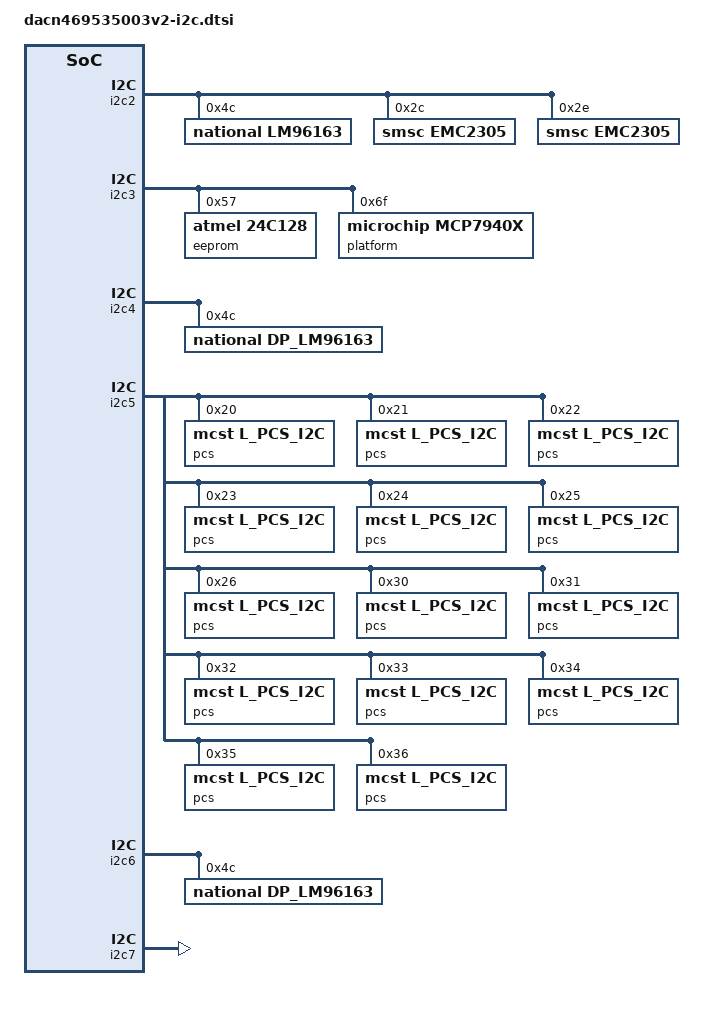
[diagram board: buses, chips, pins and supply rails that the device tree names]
&i2c0 {
	status = "disable";
};

&i2c1 {
	status = "disable";
};

&i2c2 {
	/* i2c_pmbus */
	status = "okay";
	
	lm96163@4c {
		compatible = "national,lm96163";
		reg = <0x4c>;
	};
	
	emc2305@2c {
		compatible = "smsc,emc2305";
		reg = <0x2c>;	
	};	
	emc2305@2e {
		compatible = "smsc,emc2305";
		reg = <0x2e>;	
	};	

};

&i2c3 {
	/* i2c_fruid */
	status = "okay";
	
	eeprom@57 {
		compatible = "atmel,24c128";
		reg = <0x57>;	     
	};

	mcp7940@6f {
        	compatible = "microchip,mcp7940x";
        	reg = <0x6f>;
        	label = "platform";
    	};
};

&i2c4 {
	/* i2c_cpu1 */
	status = "okay";
	
	dp_lm96163@4c {
		compatible = "national,dp_lm96163";
		reg = <0x4c>;
	};	
	
};

&i2c5 {
	/* i2c_mntr */
	status = "okay";

        pcs@20 {
		compatible = "mcst,l_pcs_i2c";
		reg = <0x20>;
	};	
        pcs@21 {
		compatible = "mcst,l_pcs_i2c";
		reg = <0x21>;
	};	
        pcs@22 {
		compatible = "mcst,l_pcs_i2c";
		reg = <0x22>;
	};	
        pcs@23 {
		compatible = "mcst,l_pcs_i2c";
		reg = <0x23>;
	};	
        pcs@24 {
		compatible = "mcst,l_pcs_i2c";
		reg = <0x24>;
	};	
        pcs@25 {
		compatible = "mcst,l_pcs_i2c";
		reg = <0x25>;
	};	
        pcs@26 {
		compatible = "mcst,l_pcs_i2c";
		reg = <0x26>;
	};	
	
        pcs@30 {
		compatible = "mcst,l_pcs_i2c";
		reg = <0x30>;
	};	
        pcs@31 {
		compatible = "mcst,l_pcs_i2c";
		reg = <0x31>;
	};	
        pcs@32 {
		compatible = "mcst,l_pcs_i2c";
		reg = <0x32>;
	};	
        pcs@33 {
		compatible = "mcst,l_pcs_i2c";
		reg = <0x33>;
	};	
        pcs@34 {
		compatible = "mcst,l_pcs_i2c";
		reg = <0x34>;
	};	
        pcs@35 {
		compatible = "mcst,l_pcs_i2c";
		reg = <0x35>;
	};	
        pcs@36 {
		compatible = "mcst,l_pcs_i2c";
		reg = <0x36>;
	};	
};

&i2c6 {
	/* i2c_cpu0 */
	status = "okay";
	
	dp_lm96163@4c {
		compatible = "national,dp_lm96163";
		reg = <0x4c>;
	};	
	
};

&i2c7 {
	/* i2c_pci */
	status = "okay";
};

&i2c8 {
	status = "disable";
};

&i2c9 {
	/* i2c_BMC (HEADER) */
	status = "disable";
};

&i2c13 {
	status = "disable";
};
